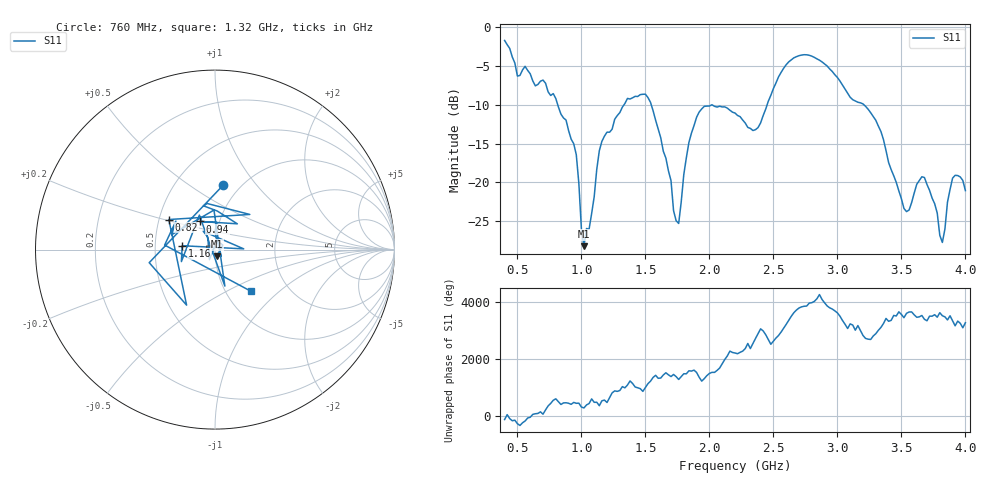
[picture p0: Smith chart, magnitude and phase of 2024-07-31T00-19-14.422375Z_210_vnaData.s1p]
!Created with skrf (http://scikit-rf.org).
# Hz S RI R 50.0
!freq ReS11 ImS11
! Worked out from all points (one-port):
!   181 points, 400 MHz to 4 GHz, reference 50 ohm
!   lowest |S11| = -28.2 dB at 1.02 GHz (marker M1), VSWR 1.08, Z = 50.7 - j3.84 ohm
!   |S11| at or under -10 dB: 815.2 MHz to 1.332 GHz (517.2 MHz wide, 48.2 % of centre); 1.546 GHz to 2.018 GHz (472.3 MHz wide, 26.5 % of centre); 3.208 GHz to end of sweep (the widest 3 of 4)
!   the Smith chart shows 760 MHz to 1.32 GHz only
!   S11 on the Smith chart (normalised r, x): 760 MHz: 0.84, +0.69; 820 MHz: 0.56, +0.21; 940 MHz: 0.81, +0.26; 1.16 GHz: 0.69, +0.03; 1.32 GHz: 1.31, -0.67
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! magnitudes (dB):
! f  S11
! 400 MHz  -1.7
! 500 MHz  -6.3
! 560 MHz  -5.0
! 760 MHz  -8.8
! 820 MHz  -10.3
! 860 MHz  -11.7
! 940 MHz  -15.0
! 960 MHz  -16.4
! 1 GHz  -26.0
! 1.02 GHz  -28.2
! 1.16 GHz  -14.7
! 1.3 GHz  -11.0
! 1.32 GHz  -10.3
! 1.54 GHz  -9.7
! 1.76 GHz  -25.3
! 1.84 GHz  -14.8
! 1.92 GHz  -10.9
! 2.2 GHz  -11.1
! 2.38 GHz  -12.9
! 2.66 GHz  -3.9
! 2.88 GHz  -4.5
! 3.1 GHz  -9.0
! 3.3 GHz  -12.0
! 3.56 GHz  -23.6
! 3.68 GHz  -19.4
! 3.82 GHz  -27.7
! 3.9 GHz  -19.5
! 4 GHz  -21.1
